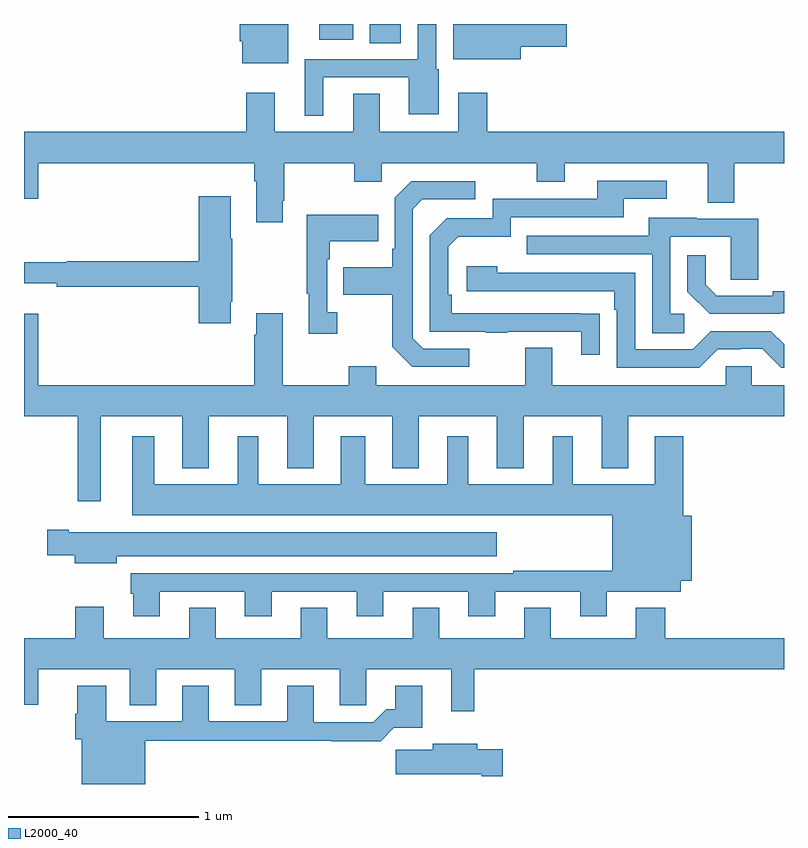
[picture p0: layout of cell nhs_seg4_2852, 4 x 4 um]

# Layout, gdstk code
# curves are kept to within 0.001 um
import gdstk
lib = gdstk.Library(unit=1e-6, precision=1e-09)
def R(c, l, rs):  # rectangles x0, y0, x1, y1
    for r in rs: c.add(gdstk.rectangle(r[:2], r[2:], *l))
def P(c, l, *ps):  # polygons
    for p in ps: c.add(gdstk.Polygon(p, *l))
L2000_40 = (2000, 40)

nhs_seg4_2852 = lib.new_cell('nhs_seg4_2852')
R(nhs_seg4_2852, L2000_40, [(262.82,782.8,262.984,782.9), (262.553,782.816,262.732,782.9)])
P(nhs_seg4_2852, L2000_40, [(263.614,782.779),(263.857,782.779),(263.857,782.9),(263.258,782.9),(263.258,782.714),(263.614,782.714)],
  [(262.39,782.9),(262.136,782.9),(262.136,782.808),(262.148,782.808),(262.148,782.693),(262.39,782.693)],
  [(262.576,782.619),(263.024,782.619),(263.024,782.426),(263.182,782.426),(263.182,782.662),(263.169,782.662),(263.169,782.9),(263.073,782.9),(263.073,782.715),(262.478,782.715),(262.478,782.418),(262.576,782.418)],
  [(262.363,781.969),(262.371,781.969),(262.371,782.168),(262.738,782.168),(262.738,782.069),(262.884,782.069),(262.884,782.168),(263.698,782.168),(263.698,782.069),(263.845,782.069),(263.845,782.168),(264.599,782.168),(264.599,781.96),(264.739,781.96),(264.739,782.168),(265,782.168),(265,782.332),(263.438,782.332),(263.438,782.539),(263.285,782.539),(263.285,782.332),(262.873,782.332),(262.873,782.534),(262.733,782.534),(262.733,782.332),(262.321,782.332),(262.321,782.539),(262.169,782.539),(262.169,782.332),(261,782.332),(261,781.98),(261.076,781.98),(261.076,782.168),(262.211,782.168),(262.211,782.072),(262.223,782.072),(262.223,781.857),(262.363,781.857)],
  [(264.029,781.376),(263.252,781.377),(263.252,781.474),(263.232,781.474),(263.232,781.728),(263.285,781.781),(263.562,781.781),(263.562,781.884),(264.157,781.884),(264.157,781.98),(264.382,781.98),(264.382,782.076),(264.017,782.076),(264.017,781.98),(263.466,781.98),(263.466,781.878),(263.226,781.878),(263.136,781.788),(263.136,781.281),(263.431,781.281),(263.431,781.276),(263.543,781.276),(263.543,781.281),(263.933,781.281),(263.933,781.158),(264.029,781.158)],
  [(263.344,781.191),(263.1,781.191),(263.046,781.245),(263.046,781.926),(263.097,781.977),(263.374,781.977),(263.374,782.073),(263.037,782.073),(262.95,781.986),(262.95,781.717),(262.938,781.717),(262.938,781.621),(262.681,781.621),(262.681,781.474),(262.938,781.474),(262.938,781.201),(263.043,781.095),(263.344,781.095)],
  [(262.087,781.438),(262.095,781.438),(262.095,781.769),(262.087,781.769),(262.087,781.993),(261.92,781.993),(261.92,781.652),(261.225,781.652),(261.225,781.645),(261,781.645),(261,781.535),(261.172,781.535),(261.172,781.516),(261.92,781.516),(261.92,781.326),(262.087,781.326)],
  [(262.648,781.382),(262.596,781.382),(262.596,781.661),(262.609,781.661),(262.609,781.757),(262.865,781.757),(262.865,781.897),(262.488,781.897),(262.488,781.481),(262.499,781.481),(262.499,781.269),(262.648,781.269)],
  [(264.475,781.374),(264.402,781.374),(264.402,781.779),(264.72,781.779),(264.72,781.555),(264.865,781.555),(264.865,781.875),(264.541,781.875),(264.541,781.879),(264.287,781.879),(264.287,781.785),(263.647,781.785),(263.647,781.689),(264.306,781.689),(264.306,781.273),(264.475,781.273)],
  [(264.98,781.377),(265,781.377),(265,781.493),(264.941,781.493),(264.941,781.47),(264.646,781.47),(264.589,781.527),(264.589,781.684),(264.492,781.684),(264.492,781.49),(264.608,781.374),(264.98,781.374)],
  [(265,781.214),(264.93,781.284),(264.615,781.284),(264.519,781.188),(264.216,781.188),(264.216,781.59),(263.492,781.59),(263.492,781.624),(263.331,781.624),(263.331,781.494),(264.107,781.494),(264.107,781.397),(264.12,781.397),(264.12,781.092),(264.555,781.092),(264.651,781.188),(264.77,781.188),(264.77,781.191),(264.885,781.191),(264.985,781.091),(265,781.091)],
  [(262.855,781.099),(262.708,781.099),(262.708,781),(262.363,781),(262.363,781.378),(262.223,781.378),(262.223,781.265),(262.211,781.265),(262.211,781),(261.076,781),(261.076,781.375),(261,781.375),(261,780.836),(261.282,780.836),(261.282,780.387),(261.403,780.387),(261.403,780.836),(261.833,780.836),(261.833,780.563),(261.973,780.563),(261.973,780.836),(262.385,780.836),(262.385,780.563),(262.525,780.563),(262.525,780.836),(262.937,780.836),(262.937,780.563),(263.077,780.563),(263.077,780.836),(263.489,780.836),(263.489,780.563),(263.629,780.563),(263.629,780.836),(264.041,780.836),(264.041,780.563),(264.181,780.563),(264.181,780.836),(265,780.836),(265,781),(264.831,781),(264.831,781.098),(264.693,781.098),(264.693,781),(263.779,781),(263.779,781.195),(263.639,781.195),(263.639,781),(262.855,781)],
  [(261.715,779.913),(262.163,779.913),(262.163,779.784),(262.303,779.784),(262.303,779.913),(262.751,779.913),(262.751,779.784),(262.891,779.784),(262.891,779.913),(263.339,779.913),(263.339,779.784),(263.479,779.784),(263.479,779.913),(263.927,779.913),(263.927,779.784),(264.067,779.784),(264.067,779.912),(264.457,779.912),(264.457,779.969),(264.514,779.969),(264.514,780.313),(264.47,780.313),(264.47,780.73),(264.32,780.73),(264.32,780.478),(263.887,780.478),(263.887,780.73),(263.783,780.73),(263.783,780.478),(263.338,780.478),(263.338,780.73),(263.228,780.73),(263.228,780.478),(262.795,780.478),(262.795,780.73),(262.667,780.73),(262.667,780.478),(262.234,780.478),(262.234,780.73),(262.124,780.73),(262.124,780.478),(261.685,780.478),(261.685,780.73),(261.569,780.73),(261.569,780.314),(264.095,780.314),(264.095,780.022),(263.575,780.022),(263.575,780.009),(261.563,780.009),(261.563,779.901),(261.575,779.901),(261.575,779.784),(261.715,779.784)],
  [(261.487,780.098),(263.488,780.098),(263.488,780.226),(261.235,780.226),(261.235,780.239),(261.123,780.239),(261.123,780.104),(261.266,780.104),(261.266,780.062),(261.487,780.062)],
  [(262.597,779.828),(262.457,779.828),(262.457,779.668),(262.009,779.668),(262.009,779.828),(261.869,779.828),(261.869,779.668),(261.421,779.668),(261.421,779.833),(261.269,779.833),(261.269,779.668),(261,779.668),(261,779.316),(261.076,779.316),(261.076,779.504),(261.557,779.504),(261.557,779.314),(261.697,779.314),(261.697,779.504),(262.109,779.504),(262.109,779.314),(262.249,779.314),(262.249,779.504),(262.661,779.504),(262.661,779.314),(262.8,779.314),(262.8,779.504),(263.249,779.504),(263.249,779.283),(263.371,779.283),(263.371,779.504),(265,779.504),(265,779.668),(264.374,779.668),(264.374,779.827),(264.221,779.827),(264.221,779.668),(263.773,779.668),(263.773,779.828),(263.633,779.828),(263.633,779.668),(263.185,779.668),(263.185,779.828),(263.045,779.828),(263.045,779.668),(262.597,779.668)],
  [(261.637,779.128),(262.621,779.128),(262.621,779.126),(262.877,779.126),(262.946,779.195),(263.095,779.195),(263.095,779.416),(262.955,779.416),(262.955,779.293),(262.906,779.293),(262.839,779.226),(262.525,779.226),(262.525,779.416),(262.385,779.416),(262.385,779.229),(261.973,779.229),(261.973,779.416),(261.833,779.416),(261.833,779.229),(261.433,779.229),(261.433,779.416),(261.281,779.416),(261.281,779.27),(261.269,779.27),(261.269,779.136),(261.305,779.136),(261.305,778.9),(261.637,778.9)],
  [(263.521,779.082),(263.386,779.082),(263.386,779.113),(263.15,779.113),(263.15,779.081),(262.956,779.081),(262.956,778.952),(263.408,778.952),(263.408,778.94),(263.521,778.94)])

lib.write_gds('nhs_seg4_2852.gds')
